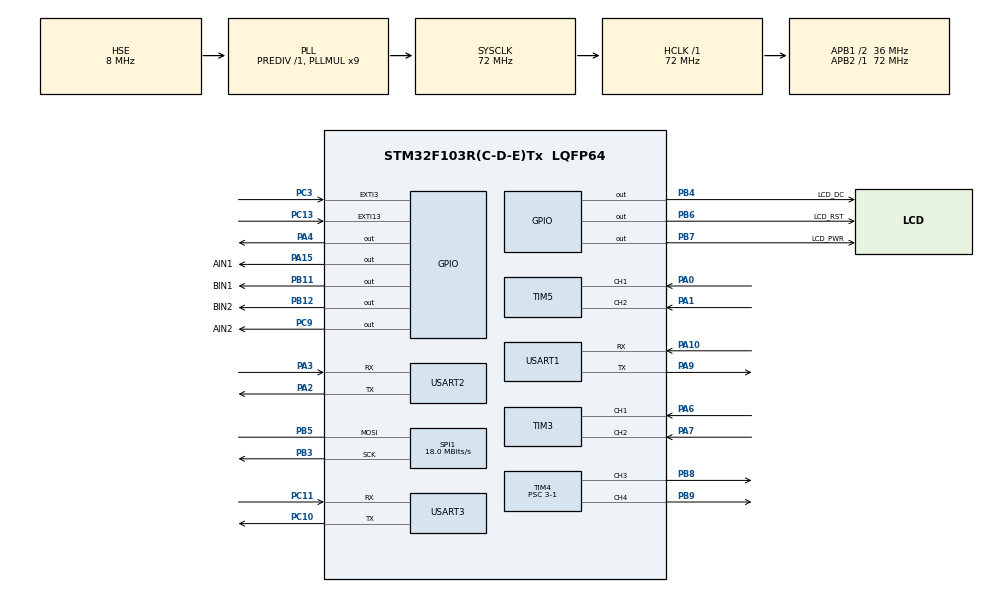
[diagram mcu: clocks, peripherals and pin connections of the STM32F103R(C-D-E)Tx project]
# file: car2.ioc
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Mcu.Family=STM32F1
Mcu.Name=STM32F103R(C-D-E)Tx
Mcu.Package=LQFP64
NVIC.EXTI15_10_IRQn=true\:6\:0\:true\:false\:true\:true\:true\:true
NVIC.EXTI3_IRQn=true\:5\:0\:true\:false\:true\:true\:true\:true
NVIC.PriorityGroup=NVIC_PRIORITYGROUP_4
NVIC.TIM1_UP_IRQn=true\:4\:0\:true\:false\:true\:true\:true\:true
NVIC.USART1_IRQn=true\:3\:0\:true\:false\:true\:true\:true\:true
NVIC.USART2_IRQn=true\:1\:0\:true\:false\:true\:true\:true\:true
NVIC.USART3_IRQn=true\:2\:0\:true\:false\:true\:true\:true\:true
PA0-WKUP.Signal=S_TIM5_CH1
PA1.Signal=S_TIM5_CH2
PA10.Mode=Asynchronous
PA10.Signal=USART1_RX
PA13.Mode=Serial_Wire
PA13.Signal=SYS_JTMS-SWDIO
PA14.Mode=Serial_Wire
PA14.Signal=SYS_JTCK-SWCLK
PA15.GPIO_Label=AIN1
PA15.Signal=GPIO_Output
PA2.Mode=Asynchronous
PA2.Signal=USART2_TX
PA3.Mode=Asynchronous
PA3.Signal=USART2_RX
PA4.Signal=GPIO_Output
PA6.Signal=S_TIM3_CH1
PA7.Signal=S_TIM3_CH2
PA9.Mode=Asynchronous
PA9.Signal=USART1_TX
PB11.GPIO_Label=BIN1
PB11.Signal=GPIO_Output
PB12.GPIO_Label=BIN2
PB12.Signal=GPIO_Output
PB3.Mode=Simplex_Bidirectional_Master
PB3.Signal=SPI1_SCK
PB4.GPIO_Label=LCD_DC
PB4.GPIO_PuPd=GPIO_PULLUP
PB4.GPIO_Speed=GPIO_SPEED_FREQ_HIGH
PB4.PinState=GPIO_PIN_RESET
PB4.Signal=GPIO_Output
PB5.Mode=Simplex_Bidirectional_Master
PB5.Signal=SPI1_MOSI
PB6.GPIO_Label=LCD_RST
PB6.GPIO_PuPd=GPIO_PULLUP
PB6.GPIO_Speed=GPIO_SPEED_FREQ_HIGH
PB6.PinState=GPIO_PIN_RESET
PB6.Signal=GPIO_Output
PB7.GPIO_Label=LCD_PWR
PB7.GPIO_PuPd=GPIO_PULLUP
PB7.GPIO_Speed=GPIO_SPEED_FREQ_HIGH
PB7.PinState=GPIO_PIN_RESET
PB7.Signal=GPIO_Output
PB8.Signal=S_TIM4_CH3
PB9.Signal=S_TIM4_CH4
PC10.Mode=Asynchronous
PC10.Signal=USART3_TX
PC11.Mode=Asynchronous
PC11.Signal=USART3_RX
PC13-TAMPER-RTC.Signal=GPXTI13
PC3.Signal=GPXTI3
PC9.GPIO_Label=AIN2
PC9.Signal=GPIO_Output
PD0-OSC_IN.Mode=HSE-External-Oscillator
PD0-OSC_IN.Signal=RCC_OSC_IN
PD1-OSC_OUT.Mode=HSE-External-Oscillator
PD1-OSC_OUT.Signal=RCC_OSC_OUT
ProjectManager.HeapSize=0x200
ProjectManager.StackSize=0x400
ProjectManager.TargetToolchain=MDK-ARM V5.32
RCC.AHBFreq_Value=72000000
RCC.APB1CLKDivider=RCC_HCLK_DIV2
RCC.APB1Freq_Value=36000000
RCC.APB1TimFreq_Value=72000000
RCC.APB2Freq_Value=72000000
RCC.APB2TimFreq_Value=72000000
RCC.HCLKFreq_Value=72000000
RCC.PLLMUL=RCC_PLL_MUL9
RCC.PLLSourceVirtual=RCC_PLLSOURCE_HSE
RCC.SYSCLKFreq_VALUE=72000000
RCC.SYSCLKSource=RCC_SYSCLKSOURCE_PLLCLK
RCC.USBFreq_Value=72000000
SH.S_TIM3_CH1.0=TIM3_CH1,Encoder_Interface
SH.S_TIM3_CH2.0=TIM3_CH2,Encoder_Interface
SH.S_TIM4_CH3.0=TIM4_CH3,PWM Generation3 CH3
SH.S_TIM4_CH4.0=TIM4_CH4,PWM Generation4 CH4
SH.S_TIM5_CH1.0=TIM5_CH1,Encoder_Interface
SH.S_TIM5_CH2.0=TIM5_CH2,Encoder_Interface
SPI1.BaudRatePrescaler=SPI_BAUDRATEPRESCALER_4
SPI1.CLKPhase=SPI_PHASE_2EDGE
SPI1.CLKPolarity=SPI_POLARITY_HIGH
SPI1.CalculateBaudRate=18.0 MBits/s
SPI1.Direction=SPI_DIRECTION_1LINE
SPI1.Mode=SPI_MODE_MASTER
SPI1.VirtualType=VM_MASTER
TIM1.AutoReloadPreload=TIM_AUTORELOAD_PRELOAD_ENABLE
TIM1.Period=99
TIM1.Prescaler=7199
TIM4.AutoReloadPreload=TIM_AUTORELOAD_PRELOAD_ENABLE
TIM4.Channel-PWM\ Generation3\ CH3=TIM_CHANNEL_3
TIM4.Channel-PWM\ Generation4\ CH4=TIM_CHANNEL_4
TIM4.Period=1000-1
TIM4.Prescaler=3-1
USART1.VirtualMode=VM_ASYNC
USART2.VirtualMode=VM_ASYNC
USART3.VirtualMode=VM_ASYNC
VP_TIM1_VS_ClockSourceINT.Mode=Internal
board=custom

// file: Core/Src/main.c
/* USER CODE BEGIN Header */
/**
  ******************************************************************************
  * @file           : main.c
  * @brief          : Main program body
  ******************************************************************************
  * @attention
  *
  * Copyright (c) 2023 STMicroelectronics.
  * All rights reserved.
  *
  * This software is licensed under terms that can be found in the LICENSE file
  * in the root directory of this software component.
  * If no LICENSE file comes with this software, it is provided AS-IS.
  *
  ******************************************************************************
  */
/* USER CODE END Header */
#include "main.h"
#include "spi.h"
#include "tim.h"
#include "usart.h"
#include "gpio.h"

/* USER CODE BEGIN Includes */
#include "motor.h"
#include "openmv.h"
#include "stdio.h"
#include "math.h"
#include "pid.h"
#include "tftlcd.h"
#include "bmp.h"
/* USER CODE END Includes */

/* USER CODE BEGIN PTD */
unsigned int MotorSpeed1,MotorSpeed2;  // 电机当前速度数值，从编码器中获取
int MotorOutput1,MotorOutput2;		  // 电机输出
int MotorOutput_normal;
uint8_t data[5];
int Deviation;
float feedbackValue;

//#define motor_2_pwm_nomal 274
//#define motor_1_pwm_nomal 282
float motor_2_pwm_nomal=200;		//测试电机启转承霿PWM倿274
float motor_1_pwm_nomal=200;

//short longnumber1;

uint8_t test=0;//运行阶段检测标志位
uint8_t turn=0;//转弯检测标志位
uint8_t flag_go=1;
uint8_t flag_turn_go=0;//去程转弯指示标志位
uint8_t flag_turn=0;//回程转弯指示标志位
uint8_t turn_cross=0;//t形路口检测标志位
uint8_t CS=0;
uint8_t cross=0;
int a=1;

uint8_t usart1_rxbuff;
uint8_t usart3_rxbuff;

char str[50] = {0};
/* USER CODE END PTD */

/* USER CODE BEGIN PM */
//MotorOutput1=motor_1_pwm_nomal;
//MotorOutput2=motor_2_pwm_nomal;
//__HAL_TIM_SET_COMPARE(&htim4, TIM_CHANNEL_3,MotorOutput1);
//__HAL_TIM_SET_COMPARE(&htim4, TIM_CHANNEL_3,MotorOutput2);
/* USER CODE END PM */

void SystemClock_Config(void);

int main(void)
{

  /* MCU Configuration--------------------------------------------------------*/

  /* Reset of all peripherals, Initializes the Flash interface and the Systick. */
  HAL_Init();

  /* Configure the system clock */
  SystemClock_Config();

  /* Initialize all configured peripherals */
  MX_GPIO_Init();
  MX_TIM1_Init();
  MX_TIM3_Init();
  MX_TIM4_Init();
  MX_TIM5_Init();
  MX_USART1_UART_Init();
  MX_USART2_UART_Init();
  MX_USART3_UART_Init();
  MX_SPI1_Init();
  /* USER CODE BEGIN 2 */
	LCD_Init();
//	LCD_Clear(BLACK); 		//清屏
//	BACK_COLOR=BLACK;
//	POINT_COLOR=CYAN;
//	LCD_Show_Image(0, 0, 240, 135, gImage_cxk);
//	HAL_Delay(2000);
	LCD_Clear(BLACK); 		//清屏
	BACK_COLOR=BLACK;
	POINT_COLOR=CYAN;
//  LCD_ShowString(0, 0, 160, 12, 12, "Boring_TECH");
//	LCD_ShowString(0, 15, 160, 12, 12, "TFTLCD TEST 135*240");
//  LCD_ShowNum(0, 15,CS,5, 12);
//	LCD_ShowString(0, 30, 160, 16, 12, "STM32F103RCT6");
//	LCD_ShowString(0, 45, 160, 12, 12, "2019/6/24");

	HAL_TIM_PWM_Start(&htim4, TIM_CHANNEL_3);	    // TIM2_CH3(pwm)开启
	HAL_TIM_PWM_Start(&htim4, TIM_CHANNEL_4);	    // TIM4_CH3(pwm)开启
  HAL_TIM_Encoder_Start(&htim3, TIM_CHANNEL_1); // 开启编码器A1
  HAL_TIM_Encoder_Start(&htim3, TIM_CHANNEL_2); // 开启编码器B1
	HAL_TIM_Encoder_Start(&htim5, TIM_CHANNEL_1); // 开启编码器A2
  HAL_TIM_Encoder_Start(&htim5, TIM_CHANNEL_2); // 开启编码器B2

	  HAL_UART_Receive_IT(&huart3,(void *)&usart3_rxbuff,1);
    HAL_UART_Receive_IT(&huart1,(void *)&usart1_rxbuff,1);

//    printf("P:%f I:%f D:%f",kp,ki,kd);

      MotorOutput1=motor_1_pwm_nomal;
      MotorOutput2=motor_2_pwm_nomal;

	  __HAL_TIM_SET_COMPARE(&htim4,TIM_CHANNEL_3,MotorOutput1);
	  __HAL_TIM_SET_COMPARE(&htim4,TIM_CHANNEL_4,MotorOutput2);
//    HAL_GPIO_WritePin(GPIOB,GPIO_PIN_11,GPIO_PIN_RESET);
//		HAL_GPIO_WritePin(GPIOB,GPIO_PIN_12,GPIO_PIN_SET);
//	  HAL_GPIO_WritePin(GPIOA,GPIO_PIN_8,GPIO_PIN_RESET);
//		HAL_GPIO_WritePin(GPIOA,GPIO_PIN_15,GPIO_PIN_SET);//电机前进
		 HAL_GPIO_WritePin(GPIOA,GPIO_PIN_4,GPIO_PIN_SET);

  /* USER CODE END 2 */

  /* Infinite loop */
  while (1)
  {

    /* USER CODE BEGIN 3 */
		feedbackValue=stright;
		a=HAL_GPIO_ReadPin(GPIOC,GPIO_PIN_3);
		if(End_indication==1)
		{
		if(Turn_indication2==3)//判断是中端还是远端病房—中端
		{

							if(a==0&&test==0)//等药阶段
							{
							set_stop();
							flag_turn_go=0;
							}
							if(a==1&&test==1)//前往阶段
							{

												pid_go();
		                 if(at_terminal==1)//终点停止
												 {
															 HAL_Delay(1000);
															 set_stop();
															 test++;
													}
								     if(Centre>0)//opmv检测到十字路口
												 {
																	while(Centre!=0)
																	{
																		 pid_go();
																	}
																	turn++;
																 if(turn>=2)
													      {
												          if(Turn_indication1==1)
												 {
													 if(flag_turn_go==0)
													 {
													set_stright_go(15000);//位置矫正
													set_stright_turnleft(22000);
													flag_turn_go++;
//				                  flag_turn++;
//																 openmv_turnleft();
													 }
													}
												          if(Turn_indication1==2)
												 {
													 if(flag_turn_go==0)
													 {
                          set_stright_go(15000);//位置矫正
													set_stright_turnright(22000);
													flag_turn_go++;
//				                  flag_turn++;
//																openmv_turnright();
													 }
													}

												 }

												 }

							 }
              if(a==1&&test==2)//前往阶段
							{
								if(Travel_indication==1)
								{
								  set_stright_turnleft(44000);
									test++;
								}
							}
              if(a==1&&test==3)//前往终点
							{
								pid_go();
								 if(at_terminal==1)//终点停止
									 {
											 HAL_Delay(1000);
											 set_stop();
											 test++;
									 }
							}
							  if(a==0&&test==4)//终点转向
							{

								  set_stright_turnleft(44000);
									test++;

							}
               if(a==0&&test==5)//回程阶段
							{
								pid_go();
								if(Turn_indication1==2&&Turn_indication2==3)//2-1号房
										 {
											 if(flag_turn==0)
												 {
											    openmv_turnright();
										     }
										  }
										 else if(Turn_indication1==1&&Turn_indication2==3)//2-2号房
										 {
											 if(flag_turn==0)
												 {
													openmv_turnleft();
												 }
										 }
										 if(at_terminal==1)//终点停转
										{
										 HAL_Delay(400);
										 set_stop();
											test++;
										}
						 }
		  }
		else//远端
		{

		 if(Process_indication==1)//该标志位表示一车已开始回程
			{
			  if(test==0)//去程阶段
				{
				if(flag_turn_go==0)//去往暂停点
				{
					  pid_go();
					 if(turn>=1)
							 {
							   openmv_turnright();
							 }
				   if(Centre>0&&right_flag==1)//opmv检测到十字路口
								{
													while(Centre!=0)
													{
														 pid_go();
													}
													turn++;
								}

				}
				else if(flag_turn_go==1)//暂停点到达
				{    pid_go();
				     if(at_terminal==1)//终点停转
										{
										 HAL_Delay(400);
										 set_stop();
//											test++;
                     flag_turn_go++;
										}
				}
				else if(flag_turn_go==2&&Travel_indication==1)//暂停点回头
				{
				 set_stright_turnleft(44000);
					flag_turn_go++;
				}
				else if(flag_turn_go==3)//回到正轨
				{
				  pid_go();
				  openmv_turnright();
				}
				else if(flag_turn_go==4)//第一次转向
				{
					pid_go();
				                         if(dis_cross_center==1)
																 {
																				 openmv_turnright();
//																				 flag_turn_go++;
//																	       printf("1");
																 }
																 if(dis_cross_center==2)
																 {

                                        openmv_turnleft();

																 }
																 if(dis_cross_center==3)
																 {
																       if(Centre>0)//opmv检测到十字路口
																						{
																											while(Centre!=0)
																											{
																												 pid_go();
																											}
																											if(dis_cross_center==1)
																											{
																												set_stright_go(15440);//位置矫正
																											 set_stright_turnright(22000);
																												flag_turn_go++;
//				                                               flag_turn++;
																											}
																											else if(dis_cross_center==2)
																											{
																												set_stright_go(15440);//位置矫正
																											set_stright_turnleft(22000);//转180度
																												flag_turn_go++;
//				                                                flag_turn++;
																											}
																											else if(dis_cross_center==3)
																											{
																										  motor_2_pwm_nomal=300;
																										  motor_1_pwm_nomal=300;
																										  __HAL_TIM_SET_COUNTER(&htim5,0); // 计数器清零
																										  while(((short)(__HAL_TIM_GET_COUNTER(&htim5)))<3600)
																										  {
																										  pid_go();
																										  }
																										  motor_2_pwm_nomal=180;
																									  motor_1_pwm_nomal=180;
																									   }
																										 else if(dis_cross_center==4)
																										{
																												set_stright_go(15440);//位置矫正
																											set_stright_turnleft(22000);//转180度
                                                      motor_2_pwm_nomal=300;
																										  motor_1_pwm_nomal=300;
																										  __HAL_TIM_SET_COUNTER(&htim5,0); // 计数器清零
																										  while(((short)(__HAL_TIM_GET_COUNTER(&htim5)))<3600)
																										  {
																										  pid_go();
																										  }
																										  motor_2_pwm_nomal=180;
																									  motor_1_pwm_nomal=180;
																										}

																						}
																	}
																 if(dis_cross_center==4)
																 {
                                   if(Centre>0)//opmv检测到十字路口
																						{
																											while(Centre!=0)
																											{
																												 pid_go();
																											}
																											if(dis_cross_center==1)
																											{
																												set_stright_go(15440);//位置矫正
																											 set_stright_turnright(22000);
																												flag_turn_go++;
//				                                               flag_turn_go++;
																											}
																											else if(dis_cross_center==2)
																											{
																												set_stright_go(15440);//位置矫正
																											set_stright_turnleft(22000);//转180度
																												flag_turn_go++;
//				                                                flag_turn_go++;
																											}
																											if(dis_cross_center==4)
																										 {
																												set_stright_go(15440);//位置矫正
																											set_stright_turnleft(22000);//转180度
                                                      motor_2_pwm_nomal=300;
																										  motor_1_pwm_nomal=300;
																										  __HAL_TIM_SET_COUNTER(&htim5,0); // 计数器清零
																										  while(((short)(__HAL_TIM_GET_COUNTER(&htim5)))<3600)
																										  {
																										  pid_go();
																										  }
																										  motor_2_pwm_nomal=180;
																									   motor_1_pwm_nomal=180;
																										 }
																										 else if(dis_cross_center==5)
																										 {
																														 set_stright_turnleft(44000);//转180度
																														 flag_turn_go++;
																														 motor_2_pwm_nomal=400;
																														 motor_1_pwm_nomal=400;
																															__HAL_TIM_SET_COUNTER(&htim5,0); // 计数器清零
																														 while(((short)(__HAL_TIM_GET_COUNTER(&htim5)))<8000)
																														 {
																														 pid_go();
																														 }
																														motor_2_pwm_nomal=180;
																														motor_1_pwm_nomal=180;
																										 }

																 }
															 }
																 if(dis_cross_center==5)
																 {

																	if(Centre>0)//opmv检测到十字路口
																						{
																											while(Centre!=0)
																											{
																												 pid_go();
																											}
																				if(dis_cross_center==5)
																				{
																				 set_stright_turnleft(44000);//转180度
																				 flag_turn_go++;
																	       motor_2_pwm_nomal=400;
																				 motor_1_pwm_nomal=400;
																			  	__HAL_TIM_SET_COUNTER(&htim5,0); // 计数器清零
																				 while(((short)(__HAL_TIM_GET_COUNTER(&htim5)))<8000)
																				 {
																				 pid_go();
																				 }
																				motor_2_pwm_nomal=180;
																				motor_1_pwm_nomal=180;

																      }
															    }

																 HAL_Delay(50);

												}
				}
				else if(flag_turn_go==5)//第二次转向
				{
					pid_go();

																											 if(dis_cross_center_2==1)
																											 {
//																													set_stright_go(500);//位置矫正
//																													set_stright_turnright(1000);//转180度
																															 openmv_turnright();
//																															 flag_turn_go++;
																											 }
																											 else if(dis_cross_center_2==2)
																											 {
//																												 set_stright_go(500);//位置矫正
//																											   set_stright_turnleft(1000);//转180度
																															 openmv_turnleft();
//																															 flag_turn_go++;
																											 }

				 }
				else if(flag_turn_go==6)//前往终点
				{
					pid_go();
				  if(at_terminal==1)//终点停止
						 {
								 HAL_Delay(1000);
								 set_stop();
								 test++;
                 flag_turn_go++;
		         }
				}

				}
				if(a==1&&test==2)//终点转向
				{
					   HAL_Delay(50);
				     set_stright_turnleft(44000);
						 test++;
             flag_turn=0;
				}
				if(a==1&&test==3)//回程阶段
				{
					 pid_go();
				   if(dis_cross_center==2&&dis_cross_center_2==2)//3-1号房
										 {
											 if(flag_turn==0)
											 {
													openmv_turnright();
//												 flag_turn++;
											 }
											 else if(flag_turn==1)
											 {
												 openmv_turnright();
//												 flag_turn++;
												 motor_2_pwm_nomal=300;
						             motor_1_pwm_nomal=300;
											 }
											 else if(flag_turn==2)
											 {
											    if(Centre>0)//opmv检测到十字路口
											    {
													while(Centre!=0)
													{
														 pid_go();
													}
													cross++;
											    }
										   }
										 }
					 else if(dis_cross_center==2&&dis_cross_center_2==1)//3-2号房
										 {
											 if(flag_turn==0)
											 {
													openmv_turnleft();
//												 flag_turn++;

											 }
											 else if(flag_turn==1)
											 {
												 openmv_turnright();
//												 flag_turn++;
												 motor_2_pwm_nomal=300;
						             motor_1_pwm_nomal=300;
											 }
											 else if(flag_turn==2)
											 {
											    if(Centre>0)//opmv检测到十字路口
											    {
													while(Centre!=0)
													{
														 pid_go();
													}
													cross++;
											    }
										   }
										 }
					 else if(dis_cross_center==1&&dis_cross_center_2==1)//3-3号房
										 {
												if(flag_turn==0)
											 {
													openmv_turnleft();
//												 flag_turn++;

											 }
											 else if(flag_turn==1)
											 {
												 openmv_turnleft();
//												 flag_turn++;
												 motor_2_pwm_nomal=300;
						             motor_1_pwm_nomal=300;
										  }
											 else if(flag_turn==2)
											 {
											    if(Centre>0)//opmv检测到十字路口
											    {
													while(Centre!=0)
													{
														 pid_go();
													}
													cross++;
											    }
										   }
									 }
					 else if(dis_cross_center==1&&dis_cross_center_2==2)//3-4号房
										 {
											 if(flag_turn==0)
											 {
													openmv_turnright();
//												 flag_turn++;
											 }
											 else if(flag_turn==1)
											 {
												 openmv_turnleft();
//												 flag_turn++;
												 	 motor_2_pwm_nomal=300;
						             motor_1_pwm_nomal=300;
										   }
											 else if(flag_turn==2)
											 {
											    if(Centre>0)//opmv检测到十字路口
											    {
													while(Centre!=0)
													{
														 pid_go();
													}
													cross++;
											    }
										   }
											}

					if(at_terminal==1)//终点停转
										{
										 HAL_Delay(400);
										 set_stop();
											test++;
						//				 while(1);
										}
				}

				}
			}

		}
		LCD_ShowNum(0,15,(short)(__HAL_TIM_GET_COUNTER(&htim5)),5, 12);
		LCD_ShowNum(30,15,(short)(__HAL_TIM_GET_COUNTER(&htim3)),5, 12);
		LCD_ShowNum(0, 0,MotorOutput1,5, 12);
		LCD_ShowNum(30, 0,MotorOutput2,5, 12);
	  LCD_ShowNum(0, 45,a,5, 12);
		LCD_ShowNum(30, 45,test,5, 12);
		LCD_ShowNum(60, 45,turn,5, 12);

//		sprintf(str,"%d %d %d %d %d %d %d %d",stright_or_cross,stright,dis_cross_center,at_terminal,control,dis_cross_center_2,Centre,right_flag);
//		        LCD_ShowString(0, 60, 240, 12, 12, str);
  }
  /* USER CODE END 3 */
}

void SystemClock_Config(void)
{
  RCC_OscInitTypeDef RCC_OscInitStruct = {0};
  RCC_ClkInitTypeDef RCC_ClkInitStruct = {0};

  /** Initializes the RCC Oscillators according to the specified parameters
  * in the RCC_OscInitTypeDef structure.
  */
  RCC_OscInitStruct.OscillatorType = RCC_OSCILLATORTYPE_HSE;
  RCC_OscInitStruct.HSEState = RCC_HSE_ON;
  RCC_OscInitStruct.HSEPredivValue = RCC_HSE_PREDIV_DIV1;
  RCC_OscInitStruct.HSIState = RCC_HSI_ON;
  RCC_OscInitStruct.PLL.PLLState = RCC_PLL_ON;
  RCC_OscInitStruct.PLL.PLLSource = RCC_PLLSOURCE_HSE;
  RCC_OscInitStruct.PLL.PLLMUL = RCC_PLL_MUL9;
  if (HAL_RCC_OscConfig(&RCC_OscInitStruct) != HAL_OK)
  {
    Error_Handler();
  }

  /** Initializes the CPU, AHB and APB buses clocks
  */
  RCC_ClkInitStruct.ClockType = RCC_CLOCKTYPE_HCLK|RCC_CLOCKTYPE_SYSCLK
                              |RCC_CLOCKTYPE_PCLK1|RCC_CLOCKTYPE_PCLK2;
  RCC_ClkInitStruct.SYSCLKSource = RCC_SYSCLKSOURCE_PLLCLK;
  RCC_ClkInitStruct.AHBCLKDivider = RCC_SYSCLK_DIV1;
  RCC_ClkInitStruct.APB1CLKDivider = RCC_HCLK_DIV2;
  RCC_ClkInitStruct.APB2CLKDivider = RCC_HCLK_DIV1;

  if (HAL_RCC_ClockConfig(&RCC_ClkInitStruct, FLASH_LATENCY_2) != HAL_OK)
  {
    Error_Handler();
  }
}

/* USER CODE BEGIN 4 */
void HAL_UART_RxCpltCallback(UART_HandleTypeDef *huart)//串口中断回调
{
  uint16_t tem3;
  uint16_t tem1;
  if(huart->Instance==USART3)
  {
    tem3=usart3_rxbuff;
    Bluetooth_Receive_Data(tem3);
  }
  if(huart->Instance==USART1)
  {
    tem1=usart1_rxbuff;
		Openmv_Receive_Data(tem1);
  }
    HAL_UART_Receive_IT(&huart3,(void *)&usart3_rxbuff,1);
    HAL_UART_Receive_IT(&huart1,(void *)&usart1_rxbuff,1);
 }

 void HAL_GPIO_EXTI_Callback(uint16_t GPIO_Pin)//按键中断回调
{
//  if (GPIO_Pin ==GPIO_PIN_13)
//  {
////  test++;
////  HAL_NVIC_DisableIRQ(EXTI15_10_IRQn);//进入送药阶段，关闭中断防抖
////		set_stright_turnright(1);
//		__HAL_TIM_SET_COUNTER(&htim5,0); // 计数器清零
//		set_turn_left();
//		while((67295-((__HAL_TIM_GET_COUNTER(&htim5))))<22000)
//		{
////      CS=(short)(__HAL_TIM_GET_COUNTER(&htim5));
////			LCD_ShowNum(0, 15,CS,5, 12);
//			LCD_ShowNum(0, 15,(short)(__HAL_TIM_GET_COUNTER(&htim5)),5, 12);
//		}
//
//		set_stop();
//  }
  if (GPIO_Pin ==GPIO_PIN_3)
  {
     test++;
     HAL_NVIC_DisableIRQ(EXTI3_IRQn);//进入送药阶段，关闭中断防抖
  }
}
/* USER CODE END 4 */

void Error_Handler(void)
{
  __disable_irq();
  while (1)
  {
  }
}
